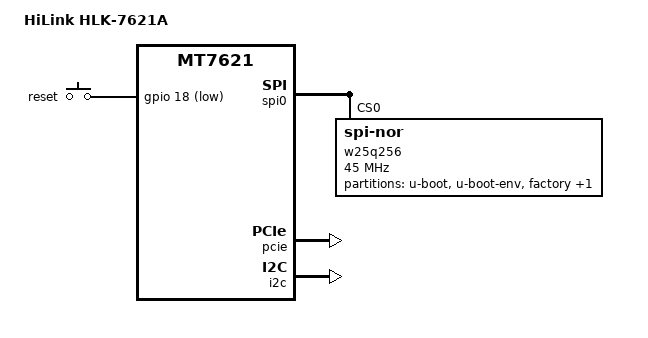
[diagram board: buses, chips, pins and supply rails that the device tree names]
// SPDX-License-Identifier: GPL-2.0-or-later OR MIT
/dts-v1/;

#include "mt7621.dtsi"

#include <dt-bindings/gpio/gpio.h>
#include <dt-bindings/input/input.h>

/ {
	compatible = "hilink,hlk-7621a", "mediatek,mt7621-soc";
	model = "HiLink HLK-7621A";
	
	aliases {

		label-mac-device = &gmac0;
	};
	
	chosen {
		bootargs = "console=ttyS0,57600";
	};
	
	keys {
		compatible = "gpio-keys-polled";
		poll-interval = <20>;

		reset {
			label = "reset";
			gpios = <&gpio 18 GPIO_ACTIVE_LOW>;
			linux,code = <KEY_RESTART>;
		};
	};
};

&spi0 {
	status = "okay";

	w25q256@0 {
		compatible = "jedec,spi-nor";
		reg = <0>;
		spi-max-frequency = <45000000>;

		partitions {
			compatible = "fixed-partitions";
			#address-cells = <1>;
			#size-cells = <1>;

			partition@0 {
				label = "u-boot";
				reg = <0x0 0x30000>;
				read-only;
			};

			partition@30000 {
				label = "u-boot-env";
				reg = <0x30000 0x10000>;
				read-only;
			};

			factory: partition@40000 {
				label = "factory";
				reg = <0x40000 0x10000>;
				read-only;
			};

			partition@50000 {
				compatible = "denx,uimage";
				label = "firmware";
				reg = <0x50000 0x1fb0000>;
			};
		};
	};
};

&pinctrl {
	state_default: pinctrl0 {
		gpio {
			ralink,group = "wdt", "uart2", "uart3", "jtag";
			ralink,function = "gpio";
		};
	};
};

&ethernet {
	mtd-mac-address = <&factory 0xe000>;
};

&gmac0 {
	mtd-mac-address = <&factory 0xe000>;
};

&pcie {
	status = "okay";
};

&i2c {
	status = "okay";
};

&switch0 {
	ports {
		port@4 {
			status = "okay";
			label = "lan4";
		};

		port@3 {
			status = "okay";
			label = "lan3";
		};

		port@2 {
			status = "okay";
			label = "lan2";
		};

		port@1 {
			status = "okay";
			label = "lan1";
		};

		port@0 {
			status = "okay";
			label = "wan";
			mtd-mac-address = <&factory 0xe006>;
		};
	};
};

&state_default {
	gpio {
		groups = "i2c", "jtag", "uart2", "uart3";
		function = "gpio";
	};
};

&i2c {
	status = "okay";
};

